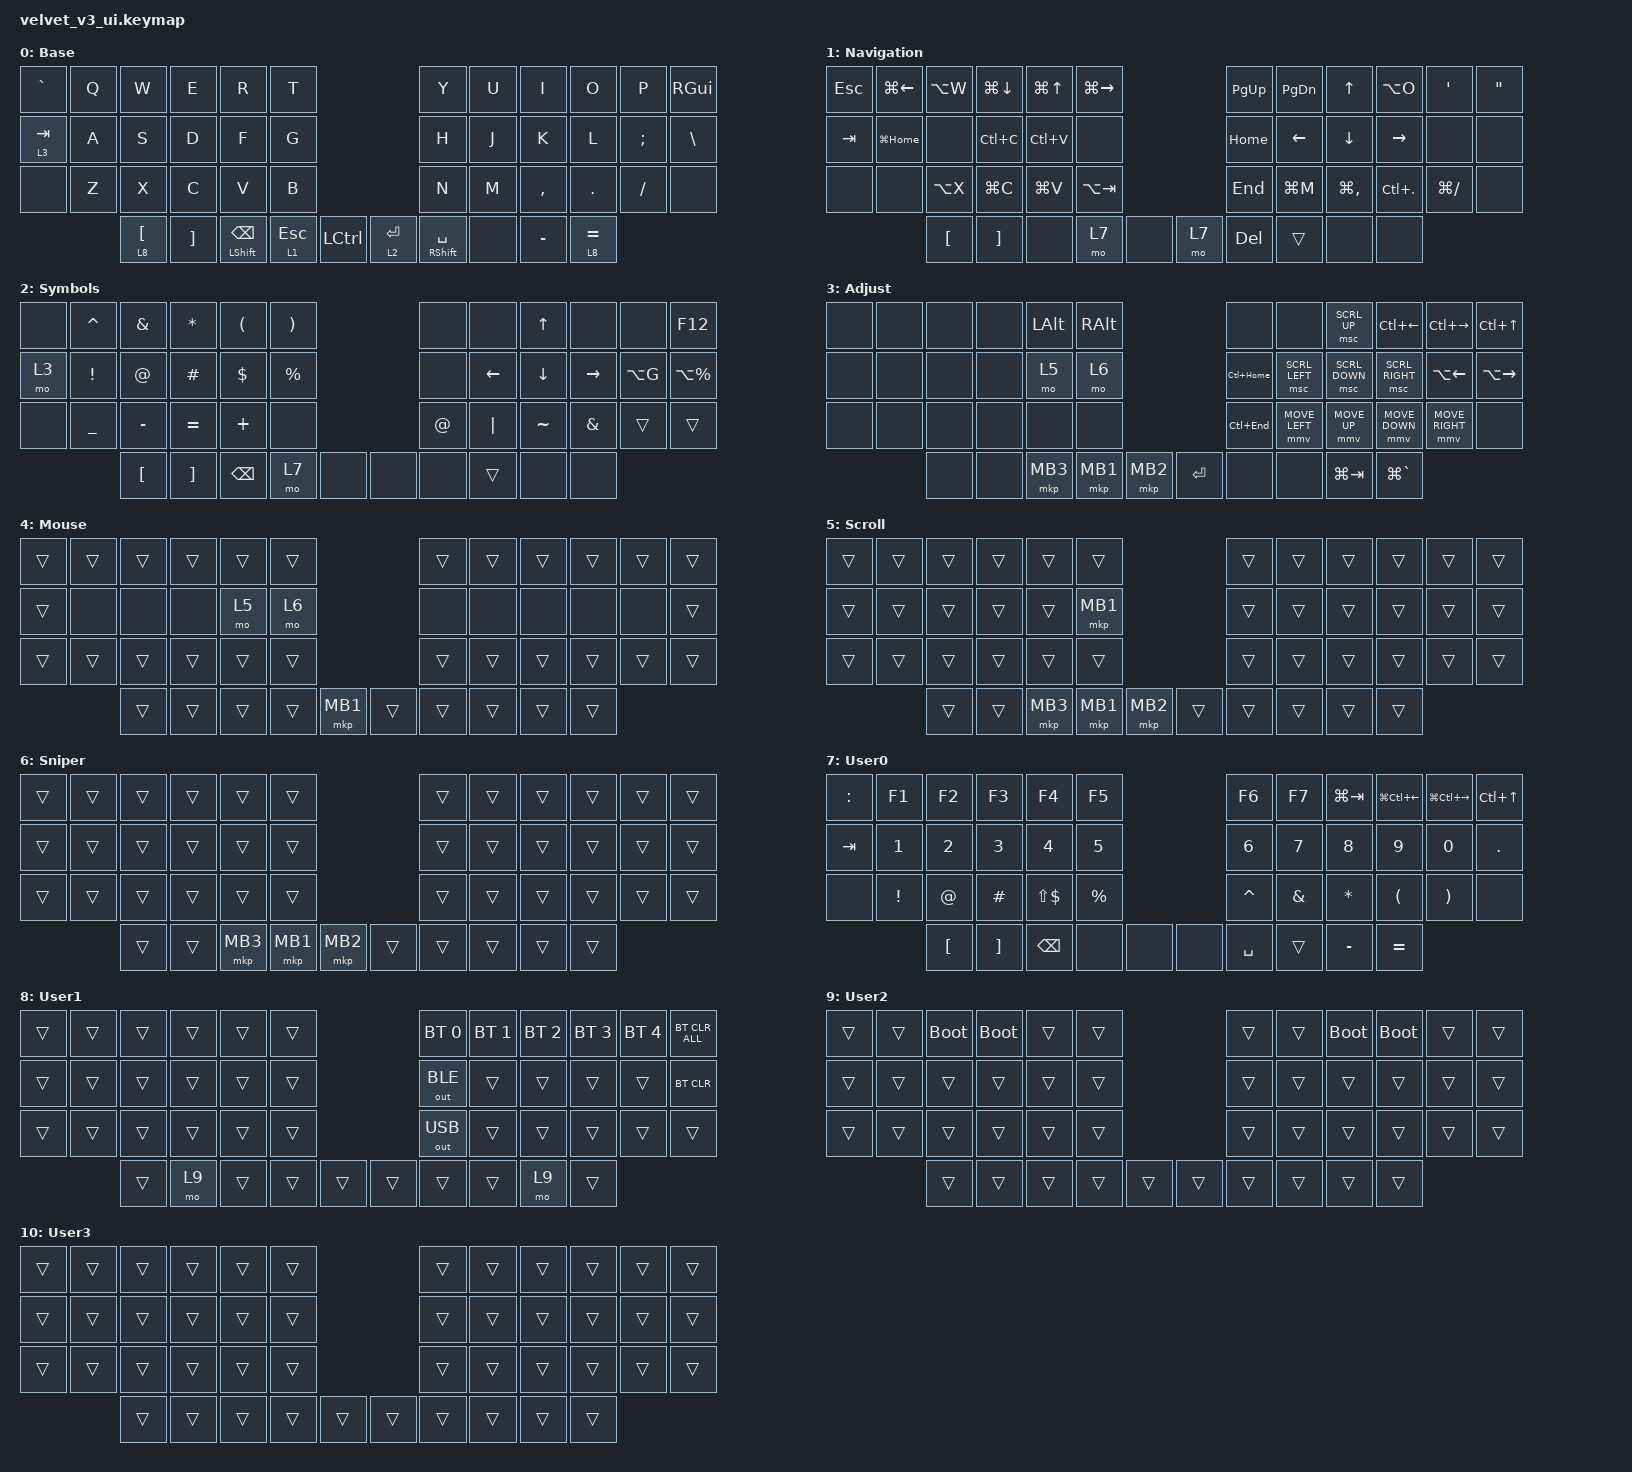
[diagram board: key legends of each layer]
#include "keys_ru.h"
#include <dt-bindings/zmk/input_transform.h>
#include <input/processors.dtsi>
#include <zephyr/dt-bindings/input/input-event-codes.h>
#include <behaviors.dtsi>
#include <dt-bindings/zmk/bt.h>
#include <dt-bindings/zmk/keys.h>
#include <dt-bindings/zmk/outputs.h>
#include <dt-bindings/zmk/pointing.h>

&mt { quick-tap-ms = <190>; };

&lt { quick-tap-ms = <190>; };

/ {
    behaviors {
        cap_sen: cap_sen {
            compatible = "zmk,behavior-hold-tap";
            label = "CAP_SEN";
            bindings = <&mo>, <&mkp>;

            #binding-cells = <2>;
            tapping-term-ms = <150>;
            hold-while-undecided;
        };

        mouse_layer: mouse_layer {
            compatible = "zmk,behavior-sticky-key";
            label = "MOUSE_LAYER";
            bindings = <&mo>;
            #binding-cells = <1>;
            release-after-ms = <200>;
        };

        new_behavior: new_behavior {
            compatible = "zmk,behavior-hold-tap";
            label = "MT1";
            bindings = <&kp>, <&kp>;

            #binding-cells = <2>;
            quick-tap-ms = <190>;
            tapping-term-ms = <200>;
            flavor = "tap-preferred";
        };

        zip_auto_mouse: zip_auto_mouse {
            compatible = "zmk,input-processor-temp-layer";
            #input-processor-cells = <2>;
            require-prior-idle-ms = <800>;
            excluded-positions = <>;
        };
    };

    combos {
        compatible = "zmk,combos";

        cmb1 {
            bindings = <&kp RIGHT_GUI>;
            key-positions = <8 9>;
        };

        CMB2 {
            bindings = <&kp RIGHT_ALT>;
            key-positions = <20 21>;
        };

        CMB3 {
            bindings = <&kp LGUI>;
            key-positions = <3 2>;
        };

        CMB4 {
            bindings = <&kp LEFT_ALT>;
            key-positions = <14 15>;
        };
    };

    keymap {
        compatible = "zmk,keymap";

        base {
            bindings = <
&kp GRAVE  &kp Q  &kp W               &kp E              &kp R                &kp T                                &kp Y            &kp U  &kp I      &kp O        &kp P      &kp RGUI
&lt 3 TAB  &kp A  &kp S               &kp D              &kp F                &kp G                                &kp H            &kp J  &kp K      &kp L        &kp SEMI   &kp BSLH
&none      &kp Z  &kp X               &kp C              &kp V                &kp B                                &kp N            &kp M  &kp COMMA  &kp DOT      &kp SLASH  &none
                  &lt 8 LEFT_BRACKET  &kp RIGHT_BRACKET  &mt LSHFT BACKSPACE  &lt 1 ESC  &kp LCTRL    &lt 2 ENTER  &mt RSHFT SPACE  &none  &kp MINUS  &lt 8 EQUAL
            >;

            display-name = "Base";
        };

        nav {
            bindings = <
&kp ESC  &kp LG(LEFT_ARROW)  &kp LA(W)         &kp LG(DOWN_ARROW)  &kp LG(UP)  &kp LG(RIGHT_ARROW)                  &kp PG_UP   &kp PAGE_DOWN  &kp UP         &kp LA(O)        &kp SINGLE_QUOTE  &kp DOUBLE_QUOTES
&kp TAB  &kp LG(HOME)        &none             &kp LC(C)           &kp LC(V)   &none                                &kp HOME    &kp LEFT       &kp DOWN       &kp RIGHT_ARROW  &none             &none
&none    &none               &kp LA(X)         &kp LG(C)           &kp LG(V)   &kp LA(TAB)                          &kp END     &kp LG(M)      &kp LG(COMMA)  &kp LC(DOT)      &kp LG(SLASH)     &none
                             &kp LEFT_BRACKET  &kp RIGHT_BRACKET   &none       &mo 7                &none    &mo 7  &kp DELETE  &trans         &none          &none
            >;

            display-name = "Navigation";
        };

        sym {
            bindings = <
&none  &kp CARET        &kp AMPERSAND     &kp ASTRK          &kp LEFT_PARENTHESIS  &kp RIGHT_PARENTHESIS                  &none   &none           &kp UP_ARROW    &none            &none      &kp F12
&mo 3  &kp EXCLAMATION  &kp AT            &kp HASH           &kp DLLR              &kp PERCENT                            &none   &kp LEFT_ARROW  &kp DOWN_ARROW  &kp RIGHT_ARROW  &kp LA(G)  &kp LA(PERCENT)
&none  &kp UNDER        &kp MINUS         &kp EQUAL          &kp PLUS              &none                                  &kp AT  &kp PIPE        &kp TILDE       &kp AMPS         &trans     &trans
                        &kp LEFT_BRACKET  &kp RIGHT_BRACKET  &kp BSPC              &mo 7                  &none    &none  &none   &trans          &none           &none
            >;

            display-name = "Symbols";
        };

        adj {
            bindings = <
&none  &none  &none  &none  &kp LEFT_ALT  &kp RIGHT_ALT                         &none         &none           &msc SCRL_UP    &kp LC(LEFT_ARROW)  &kp LC(RIGHT_ARROW)  &kp LC(UP_ARROW)
&none  &none  &none  &none  &mo 5         &mo 6                                 &kp LC(HOME)  &msc SCRL_LEFT  &msc SCRL_DOWN  &msc SCRL_RIGHT     &kp LA(LEFT_ARROW)   &kp LA(RIGHT_ARROW)
&none  &none  &none  &none  &none         &none                                 &kp LC(END)   &mmv MOVE_LEFT  &mmv MOVE_UP    &mmv MOVE_DOWN      &mmv MOVE_RIGHT      &none
              &none  &none  &mkp MB3      &mkp MB1       &mkp MB2    &kp ENTER  &none         &none           &kp LG(TAB)     &kp LG(GRAVE)
            >;

            display-name = "Adjust";
        };

        mouse {
            bindings = <
&trans  &trans  &trans  &trans  &trans  &trans                      &trans  &trans  &trans  &trans  &trans  &trans
&trans  &none   &none   &none   &mo 5   &mo 6                       &none   &none   &none   &none   &none   &trans
&trans  &trans  &trans  &trans  &trans  &trans                      &trans  &trans  &trans  &trans  &trans  &trans
                &trans  &trans  &trans  &trans  &mkp MB1    &trans  &trans  &trans  &trans  &trans
            >;

            display-name = "Mouse";
        };

        scroll {
            bindings = <
&trans  &trans  &trans  &trans  &trans    &trans                        &trans  &trans  &trans  &trans  &trans  &trans
&trans  &trans  &trans  &trans  &trans    &mkp MB1                      &trans  &trans  &trans  &trans  &trans  &trans
&trans  &trans  &trans  &trans  &trans    &trans                        &trans  &trans  &trans  &trans  &trans  &trans
                &trans  &trans  &mkp MB3  &mkp MB1  &mkp MB2    &trans  &trans  &trans  &trans  &trans
            >;

            display-name = "Scroll";
        };

        sniper {
            bindings = <
&trans  &trans  &trans  &trans  &trans    &trans                        &trans  &trans  &trans  &trans  &trans  &trans
&trans  &trans  &trans  &trans  &trans    &trans                        &trans  &trans  &trans  &trans  &trans  &trans
&trans  &trans  &trans  &trans  &trans    &trans                        &trans  &trans  &trans  &trans  &trans  &trans
                &trans  &trans  &mkp MB3  &mkp MB1  &mkp MB2    &trans  &trans  &trans  &trans  &trans
            >;

            display-name = "Sniper";
        };

        User0 {
            bindings = <
&kp COLON  &kp F1    &kp F2            &kp F3             &kp F4          &kp F5                        &kp F6        &kp F7         &kp LG(TAB)   &kp LG(LC(LEFT_ARROW))  &kp LG(LC(RIGHT_ARROW))  &kp LC(UP)
&kp TAB    &kp N1    &kp NUMBER_2      &kp NUMBER_3       &kp NUMBER_4    &kp NUMBER_5                  &kp NUMBER_6  &kp NUMBER_7   &kp NUMBER_8  &kp NUMBER_9            &kp NUMBER_0             &kp DOT
&none      &kp EXCL  &kp AT            &kp HASH           &kp LS(DOLLAR)  &kp PERCENT                   &kp CARET     &kp AMPERSAND  &kp ASTERISK  &kp LPAR                &kp RPAR                 &none
                     &kp LEFT_BRACKET  &kp RIGHT_BRACKET  &kp BSPC        &none         &none    &none  &kp SPACE     &trans         &kp MINUS     &kp EQUAL
            >;

            display-name = "User0";
        };

        User1 {
            bindings = <
&trans  &trans  &trans  &trans  &trans  &trans                    &bt BT_SEL 0  &bt BT_SEL 1  &bt BT_SEL 2  &bt BT_SEL 3  &bt BT_SEL 4  &bt BT_CLR_ALL
&trans  &trans  &trans  &trans  &trans  &trans                    &out OUT_BLE  &trans        &trans        &trans        &trans        &bt BT_CLR
&trans  &trans  &trans  &trans  &trans  &trans                    &out OUT_USB  &trans        &trans        &trans        &trans        &trans
                &trans  &mo 9   &trans  &trans  &trans    &trans  &trans        &trans        &mo 9         &trans
            >;

            display-name = "User1";
        };

        User2 {
            bindings = <
&trans  &trans  &bootloader  &bootloader  &trans  &trans                    &trans  &trans  &bootloader  &bootloader  &trans  &trans
&trans  &trans  &trans       &trans       &trans  &trans                    &trans  &trans  &trans       &trans       &trans  &trans
&trans  &trans  &trans       &trans       &trans  &trans                    &trans  &trans  &trans       &trans       &trans  &trans
                &trans       &trans       &trans  &trans  &trans    &trans  &trans  &trans  &trans       &trans
            >;

            display-name = "User2";
        };

        User3 {
            bindings = <
&trans  &trans  &trans  &trans  &trans  &trans                    &trans  &trans  &trans  &trans  &trans  &trans
&trans  &trans  &trans  &trans  &trans  &trans                    &trans  &trans  &trans  &trans  &trans  &trans
&trans  &trans  &trans  &trans  &trans  &trans                    &trans  &trans  &trans  &trans  &trans  &trans
                &trans  &trans  &trans  &trans  &trans    &trans  &trans  &trans  &trans  &trans
            >;

            display-name = "User3";
        };
    };
};

&trackball { cpi = <1000>; };

&trackball_listener {
    input-processors = <&zip_xy_scaler 9 20>;

    scroller {
        layers = <5>;
        input-processors =
            <&zip_xy_transform INPUT_TRANSFORM_Y_INVERT>,
            <&zip_xy_scaler 1 32>,
            <&zip_xy_to_scroll_mapper>;
    };

    sniper {
        layers = <6>;
        input-processors = <&zip_xy_scaler 1 4>;
    };
};
